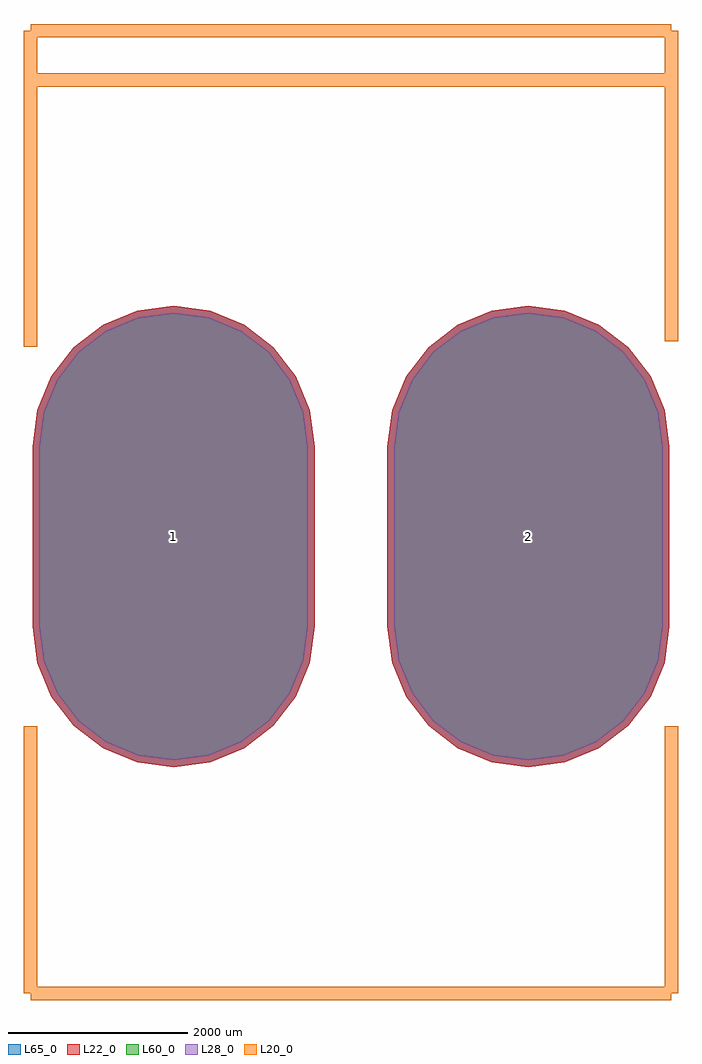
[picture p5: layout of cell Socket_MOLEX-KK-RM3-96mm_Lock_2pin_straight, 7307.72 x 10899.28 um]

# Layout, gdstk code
import gdstk
lib = gdstk.Library(unit=1e-6, precision=1e-09)
def P(c, l, *ps):  # polygons
    for p in ps: c.add(gdstk.Polygon(p, *l))
L20_0 = (20, 0)
L22_0 = (22, 0)
L28_0 = (28, 0)
L60_0 = (60, 0)
L65_0 = (65, 0)

socket_molex_kk_rm3_96mm = lib.new_cell('Socket_MOLEX-KK-RM3-96mm_Lock_2pin_straight')
P(socket_molex_kk_rm3_96mm, L22_0, [(1981.2,-2575.63),(2388.806,-2521.968),(2768.635,-2364.637),(3094.801,-2114.361),(3345.077,-1788.195),(3502.408,-1408.366),(3556.07,-1000.76),(3556.07,1000.76),(3502.408,1408.366),(3345.077,1788.195),(3094.801,2114.361),(2768.635,2364.637),(2388.806,2521.968),(1981.2,2575.63),(1573.594,2521.968),(1193.765,2364.637),(867.599,2114.361),(617.323,1788.195),(459.992,1408.366),(406.33,1000.76),(406.33,-1000.76),(459.992,-1408.366),(617.323,-1788.195),(867.599,-2114.361),(1193.765,-2364.637),(1573.594,-2521.968)],
  [(-1981.2,-2575.63),(-1573.594,-2521.968),(-1193.765,-2364.637),(-867.599,-2114.361),(-617.323,-1788.195),(-459.992,-1408.366),(-406.33,-1000.76),(-406.33,1000.76),(-459.992,1408.366),(-617.323,1788.195),(-867.599,2114.361),(-1193.765,2364.637),(-1573.594,2521.968),(-1981.2,2575.63),(-2388.806,2521.968),(-2768.635,2364.637),(-3094.801,2114.361),(-3345.077,1788.195),(-3502.408,1408.366),(-3556.07,1000.76),(-3556.07,-1000.76),(-3502.408,-1408.366),(-3345.077,-1788.195),(-3094.801,-2114.361),(-2768.635,-2364.637),(-2388.806,-2521.968)])
P(socket_molex_kk_rm3_96mm, L28_0, [(1981.2,-2500.63),(2369.395,-2449.523),(2731.135,-2299.686),(3041.768,-2061.328),(3280.126,-1750.695),(3429.963,-1388.955),(3481.07,-1000.76),(3481.07,1000.76),(3429.963,1388.955),(3280.126,1750.695),(3041.768,2061.328),(2731.135,2299.686),(2369.395,2449.523),(1981.2,2500.63),(1593.005,2449.523),(1231.265,2299.686),(920.632,2061.328),(682.274,1750.695),(532.437,1388.955),(481.33,1000.76),(481.33,-1000.76),(532.437,-1388.955),(682.274,-1750.695),(920.632,-2061.328),(1231.265,-2299.686),(1593.005,-2449.523)],
  [(-1981.2,-2500.63),(-1593.005,-2449.523),(-1231.265,-2299.686),(-920.632,-2061.328),(-682.274,-1750.695),(-532.437,-1388.955),(-481.33,-1000.76),(-481.33,1000.76),(-532.437,1388.955),(-682.274,1750.695),(-920.632,2061.328),(-1231.265,2299.686),(-1593.005,2449.523),(-1981.2,2500.63),(-2369.395,2449.523),(-2731.135,2299.686),(-3041.768,2061.328),(-3280.126,1750.695),(-3429.963,1388.955),(-3481.07,1000.76),(-3481.07,-1000.76),(-3429.963,-1388.955),(-3280.126,-1750.695),(-3041.768,-2061.328),(-2731.135,-2299.686),(-2369.395,-2449.523)])
P(socket_molex_kk_rm3_96mm, L60_0, [(1981.2,-2500.63),(2369.395,-2449.523),(2731.135,-2299.686),(3041.768,-2061.328),(3280.126,-1750.695),(3429.963,-1388.955),(3481.07,-1000.76),(3481.07,1000.76),(3429.963,1388.955),(3280.126,1750.695),(3041.768,2061.328),(2731.135,2299.686),(2369.395,2449.523),(1981.2,2500.63),(1593.005,2449.523),(1231.265,2299.686),(920.632,2061.328),(682.274,1750.695),(532.437,1388.955),(481.33,1000.76),(481.33,-1000.76),(532.437,-1388.955),(682.274,-1750.695),(920.632,-2061.328),(1231.265,-2299.686),(1593.005,-2449.523)],
  [(-1981.2,-2500.63),(-1593.005,-2449.523),(-1231.265,-2299.686),(-920.632,-2061.328),(-682.274,-1750.695),(-532.437,-1388.955),(-481.33,-1000.76),(-481.33,1000.76),(-532.437,1388.955),(-682.274,1750.695),(-920.632,2061.328),(-1231.265,2299.686),(-1593.005,2449.523),(-1981.2,2500.63),(-2369.395,2449.523),(-2731.135,2299.686),(-3041.768,2061.328),(-3280.126,1750.695),(-3429.963,1388.955),(-3481.07,1000.76),(-3481.07,-1000.76),(-3429.963,-1388.955),(-3280.126,-1750.695),(-3041.768,-2061.328),(-2731.135,-2299.686),(-2369.395,-2449.523)])
P(socket_molex_kk_rm3_96mm, L65_0, [(1981.2,-2575.63),(2388.806,-2521.968),(2768.635,-2364.637),(3094.801,-2114.361),(3345.077,-1788.195),(3502.408,-1408.366),(3556.07,-1000.76),(3556.07,1000.76),(3502.408,1408.366),(3345.077,1788.195),(3094.801,2114.361),(2768.635,2364.637),(2388.806,2521.968),(1981.2,2575.63),(1573.594,2521.968),(1193.765,2364.637),(867.599,2114.361),(617.323,1788.195),(459.992,1408.366),(406.33,1000.76),(406.33,-1000.76),(459.992,-1408.366),(617.323,-1788.195),(867.599,-2114.361),(1193.765,-2364.637),(1573.594,-2521.968)],
  [(-1981.2,-2575.63),(-1573.594,-2521.968),(-1193.765,-2364.637),(-867.599,-2114.361),(-617.323,-1788.195),(-459.992,-1408.366),(-406.33,-1000.76),(-406.33,1000.76),(-459.992,1408.366),(-617.323,1788.195),(-867.599,2114.361),(-1193.765,2364.637),(-1573.594,2521.968),(-1981.2,2575.63),(-2388.806,2521.968),(-2768.635,2364.637),(-3094.801,2114.361),(-3345.077,1788.195),(-3502.408,1408.366),(-3556.07,1000.76),(-3556.07,-1000.76),(-3502.408,-1408.366),(-3345.077,-1788.195),(-3094.801,-2114.361),(-2768.635,-2364.637),(-2388.806,-2521.968)])
socket_molex_kk_rm3_96mm.add(gdstk.FlexPath([(3578.86,-5100.32),(3578.86,-2120.9)], 149.998, ends="flush", simple_path=True, layer=20, datatype=0))  # L20_0
socket_molex_kk_rm3_96mm.add(gdstk.FlexPath([(-3578.86,5100.32),(-3578.86,2120.9)], 149.998, ends="flush", simple_path=True, layer=20, datatype=0))  # L20_0
socket_molex_kk_rm3_96mm.add(gdstk.FlexPath([(3578.86,5100.32),(-3578.86,5100.32)], 149.998, ends="flush", simple_path=True, layer=20, datatype=0))  # L20_0
socket_molex_kk_rm3_96mm.add(gdstk.FlexPath([(3578.86,2179.32),(3578.86,5100.32)], 149.998, ends="flush", simple_path=True, layer=20, datatype=0))  # L20_0
socket_molex_kk_rm3_96mm.add(gdstk.FlexPath([(-3578.86,-5100.32),(3578.86,-5100.32)], 149.998, ends="flush", simple_path=True, layer=20, datatype=0))  # L20_0
socket_molex_kk_rm3_96mm.add(gdstk.FlexPath([(-3578.86,-2120.9),(-3578.86,-5100.32)], 149.998, ends="flush", simple_path=True, layer=20, datatype=0))  # L20_0
socket_molex_kk_rm3_96mm.add(gdstk.FlexPath([(-3578.86,5648.96),(-3578.86,5100.32)], 149.998, ends="flush", simple_path=True, layer=20, datatype=0))  # L20_0
socket_molex_kk_rm3_96mm.add(gdstk.FlexPath([(3578.86,5648.96),(-3578.86,5648.96)], 149.998, ends="flush", simple_path=True, layer=20, datatype=0))  # L20_0
socket_molex_kk_rm3_96mm.add(gdstk.FlexPath([(3578.86,5100.32),(3578.86,5648.96)], 149.998, ends="flush", simple_path=True, layer=20, datatype=0))  # L20_0
socket_molex_kk_rm3_96mm.add(gdstk.Label('2', (1981.2,0), layer=28, texttype=0))
socket_molex_kk_rm3_96mm.add(gdstk.Label('1', (-1981.2,0), layer=28, texttype=0))
socket_molex_kk_rm3_96mm.add(gdstk.Label('type', (1270,-7620), layer=9, texttype=0))
socket_molex_kk_rm3_96mm.add(gdstk.Label('devicename', (0,7620), layer=9, texttype=0))

lib.write_gds('Socket_MOLEX-KK-RM3-96mm_Lock_2pin_straight.gds')
